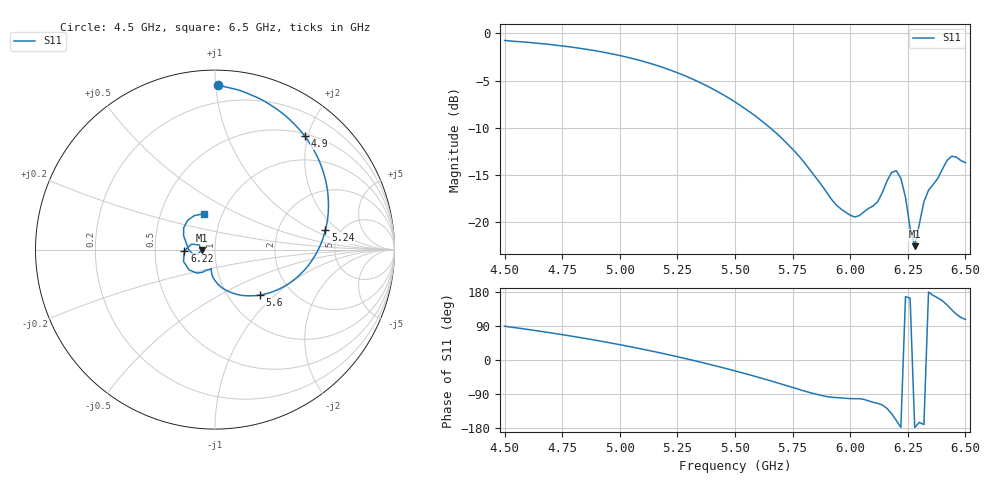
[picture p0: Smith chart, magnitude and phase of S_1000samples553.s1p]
! TOUCHSTONE file generated by CST MICROWAVE STUDIO
! Date and time: Fri Oct 28 13:48:44 2022
! Project name: L.cst
! Parameters = {Di=1.27; Epsilon_r=1.56; InnerDiameter=1.27; Length=2; Lf=10; Lg=60; OuterConductorThickness=0.2921; OuterDiameter=3.6; Wf=3; Wp=41.2; de=1.5; df=6.8; g=0.8; gx=3.90337; gy=3.53811; h=2.34; hf=1.524; px=14.5356; py=12.2725; w=9.7; wx=10.6322; wy=8.73437}
! Header version: 2018
! Port assignment regex: !\s*Touchstone port\s*([0-9]+)\s*=\s*(CST MWS port|CST DS port)\s*([0-9]+|Zmin|Zmax)\s*\(\"(.*)\"\)(\s*mode\s*([0-9]+))?.*
! Touchstone port assignment:
! Touchstone port 1 = CST MWS port 1 ("")
# GHz S DB R 50
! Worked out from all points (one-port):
!   101 points, 4.5 GHz to 6.5 GHz, reference 50 ohm
!   lowest |S11| = -22.5 dB at 6.28 GHz (marker M1), VSWR 1.16, Z = 43 - j0.227 ohm
!   |S11| at or under -10 dB: 5.652 GHz to end of sweep
!   S11 on the Smith chart (normalised r, x): 4.5 GHz: 0.09, +1.01; 4.9 GHz: 0.54, +1.95; 5.24 GHz: 3.81, +1.36; 5.6 GHz: 1.39, -0.81; 6.22 GHz: 0.71, -0.01; 6.5 GHz: 0.82, +0.34
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4.5  -0.76 89.1
4.76  -1.37 66.0
4.9  -1.87 51.6
5  -2.35 40.4
5.12  -3.10 25.9
5.24  -4.08 10.1
5.26  -4.27 7.3
5.4  -5.85 -13.1
5.5  -7.27 -28.8
5.6  -8.97 -45.5
5.76  -12.52 -74.2
5.88  -16.20 -94.2
5.94  -18.18 -99.1
6  -19.25 -102.0
6.04  -19.28 -102.1
6.1  -18.27 -111.7
6.12  -17.80 -114.6
6.16  -15.62 -127.9
6.2  -14.54 -159.4
6.22  -15.34 -177.6
6.24  -17.35 167.2
6.26  -20.60 163.3
6.28  -22.53 -178.0
6.32  -17.83 -170.3
6.34  -16.60 179.4
6.4  -14.39 156.3
6.44  -13.01 132.9
6.5  -13.69 107.1
